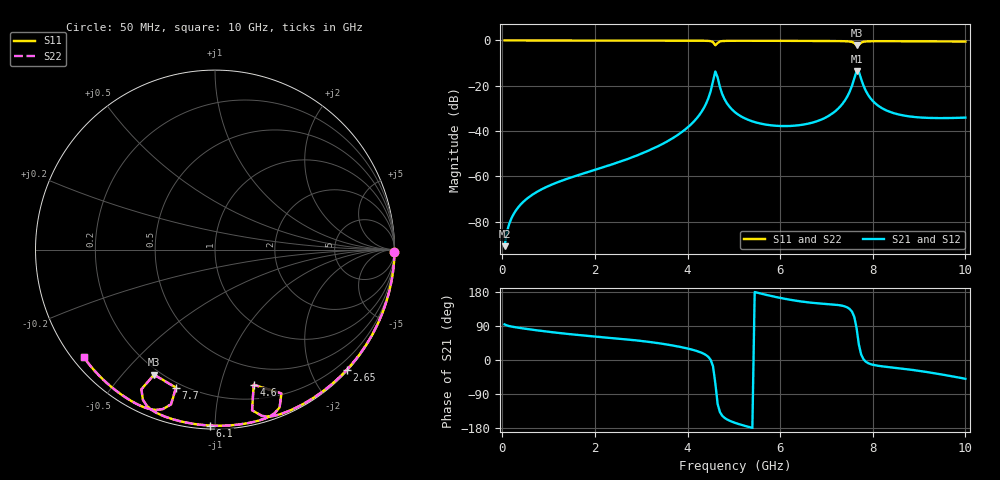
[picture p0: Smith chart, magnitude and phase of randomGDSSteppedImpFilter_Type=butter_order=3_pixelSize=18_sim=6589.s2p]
! freq	dB(S11)	phase(S11)	dB(S12)	phase(S12)
!  dB(S21)	phase(S21)	dB(S22)	phase(S22)
!S-par simulation data
#  GHz  S  DB  R 50
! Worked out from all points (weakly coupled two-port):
!   200 points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, 50 MHz to 10 GHz, reference 50 ohm
!   highest |S21| = -13.55 dB at 7.65 GHz (marker M1); lowest = -90.8 dB at 50 MHz (marker M2)
!   lowest |S11| = -2.2 dB at 7.65 GHz (marker M3), VSWR 7.89, Z = 8.75 - j30.5 ohm
!   |S11| at or under -10 dB: nowhere
!   |S22| runs from -2.2 to 0.0 dB; largest |S21 - S12| = 0
!   S11 on the Smith chart (normalised r, x): 50 MHz: open; 2.65 GHz: 0.02, -2.57; 4.6 GHz: 0.33, -1.27; 6.1 GHz: 0.02, -0.97; 7.7 GHz: 0.17, -0.74; 10 GHz: 0.03, -0.36
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0.05  -0.00 -0.8  -90.83 94.0  -90.83 94.0  -0.00 -0.8
0.15  -0.00 -2.5  -80.94 89.6  -80.94 89.6  -0.00 -2.5
0.4  -0.00 -6.6  -72.36 84.2  -72.36 84.2  -0.00 -6.6
0.7  -0.01 -11.4  -67.44 79.1  -67.44 79.1  -0.01 -11.4
1.75  -0.04 -28.3  -58.72 64.7  -58.72 64.7  -0.04 -28.3
2.65  -0.05 -42.4  -52.74 54.8  -52.74 54.8  -0.05 -42.4
3.4  -0.07 -54.0  -46.33 43.9  -46.33 43.9  -0.07 -54.0
4.25  -0.11 -67.6  -33.05 21.7  -33.05 21.7  -0.11 -67.6
4.45  -0.21 -72.3  -25.49 8.1  -25.49 8.1  -0.21 -72.3
4.6  -2.12 -74.0  -13.69 -61.3  -13.69 -61.3  -2.12 -74.0
4.65  -1.09 -65.2  -16.35 -116.0  -16.35 -116.0  -1.09 -65.2
4.8  -0.21 -71.3  -25.96 -152.7  -25.96 -152.7  -0.21 -71.3
5.05  -0.14 -76.3  -32.09 -166.8  -32.09 -166.8  -0.14 -76.3
6.1  -0.17 -91.7  -37.81 161.6  -37.81 161.6  -0.17 -91.7
6.7  -0.21 -100.0  -36.27 150.8  -36.27 150.8  -0.21 -100.0
7.3  -0.29 -109.1  -29.09 144.2  -29.09 144.2  -0.29 -109.1
7.5  -0.47 -113.8  -22.68 134.8  -22.68 134.8  -0.47 -113.8
7.65  -2.21 -116.0  -13.55 84.2  -13.55 84.2  -2.20 -116.0
7.7  -1.95 -105.8  -13.84 40.6  -13.84 40.6  -1.94 -105.8
7.95  -0.35 -112.6  -25.51 -10.7  -25.51 -10.7  -0.35 -112.6
8.35  -0.32 -119.2  -31.36 -18.8  -31.36 -18.8  -0.32 -119.2
10  -0.48 -140.5  -34.06 -49.6  -34.06 -49.6  -0.48 -140.5
